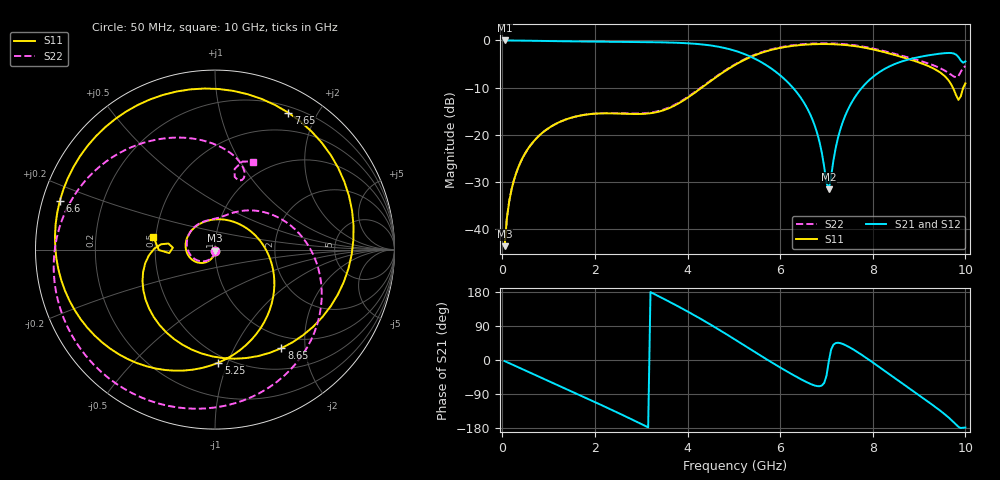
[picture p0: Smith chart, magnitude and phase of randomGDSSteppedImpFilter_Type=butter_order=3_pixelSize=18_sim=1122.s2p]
! freq	dB(S11)	phase(S11)	dB(S12)	phase(S12)
!  dB(S21)	phase(S21)	dB(S22)	phase(S22)
!S-par simulation data
#  GHz  S  DB  R 50
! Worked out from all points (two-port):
!   200 points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, 50 MHz to 10 GHz, reference 50 ohm
!   highest |S21| = -0.01 dB at 50 MHz (marker M1); lowest = -31.5 dB at 7.05 GHz (marker M2)
!   |S21| within 3 dB of the highest: start of sweep to 5.258 GHz; 9.299 GHz to 9.798 GHz (498.8 MHz wide, 5.22 % of centre)
!   lowest |S11| = -43.6 dB at 50 MHz (marker M3), VSWR 1.01, Z = 50 - j0.662 ohm
!   |S11| at or under -10 dB: start of sweep to 4.307 GHz; 9.73 GHz to 9.954 GHz (224.9 MHz wide, 2.29 % of centre)
!   |S22| runs from -43.6 to -0.6 dB; largest |S21 - S12| = 0
!   S11 on the Smith chart (normalised r, x): 50 MHz: 1.00, -0.01; 5.25 GHz: 0.44, -0.93; 6.6 GHz: 0.05, +0.15; 7.65 GHz: 0.27, +1.64; 8.65 GHz: 0.80, -1.57; 10 GHz: 0.48, +0.08
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0.05  -43.57 -91.9  -0.01 -2.8  -0.01 -2.8  -43.58 -92.3
0.2  -31.56 -100.1  -0.02 -11.2  -0.02 -11.2  -31.57 -101.9
0.5  -23.80 -115.7  -0.05 -27.9  -0.05 -27.9  -23.82 -120.1
1.15  -17.70 -149.6  -0.15 -63.8  -0.15 -63.8  -17.70 -159.5
1.75  -15.80 179.1  -0.23 -97.1  -0.23 -97.1  -15.79 164.9
2.65  -15.53 126.7  -0.31 -148.2  -0.31 -148.2  -15.46 114.9
3.4  -15.03 68.7  -0.39 166.8  -0.39 166.8  -14.89 82.4
4.3  -10.05 -10.6  -0.83 107.4  -0.83 107.4  -9.92 42.6
5.05  -5.04 -72.0  -2.27 52.0  -2.27 52.0  -4.93 -6.7
5.25  -4.01 -88.3  -2.97 36.7  -2.97 36.7  -3.90 -21.3
5.85  -1.90 -136.6  -6.23 -8.7  -6.23 -8.7  -1.78 -65.2
6.6  -0.86 162.5  -14.68 -60.1  -14.68 -60.1  -0.72 -116.7
6.7  -0.81 154.0  -16.82 -65.3  -16.82 -65.3  -0.67 -123.3
7.05  -0.77 122.8  -31.54 -4.0  -31.54 -4.0  -0.62 -146.1
7.3  -0.89 98.7  -18.82 44.4  -18.82 44.4  -0.73 -162.2
7.65  -1.26 61.9  -11.50 22.4  -11.50 22.4  -1.08 175.2
8  -1.89 21.8  -7.75 -6.4  -7.75 -6.4  -1.70 153.2
8.35  -2.75 -20.1  -5.54 -36.9  -5.54 -36.9  -2.52 132.3
8.65  -3.58 -56.1  -4.38 -63.0  -4.38 -63.0  -3.30 115.4
9.3  -5.89 -132.2  -3.00 -119.4  -3.00 -119.4  -5.23 81.5
9.85  -12.59 177.3  -3.51 -176.3  -3.51 -176.3  -7.54 74.9
10  -9.10 168.1  -4.44 -178.0  -4.44 -178.0  -5.44 66.6
